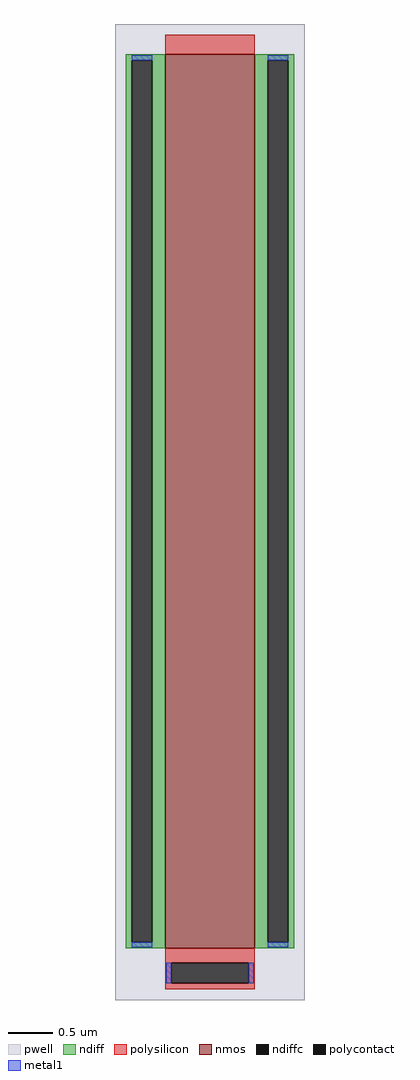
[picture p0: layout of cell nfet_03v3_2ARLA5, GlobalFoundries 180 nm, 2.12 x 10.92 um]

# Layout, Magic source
magic
tech gf180mcuD
magscale 1 10
<< pwell >>
rect -212 -1092 212 1092
<< nmos >>
rect -100 -976 100 1024
<< ndiff >>
rect -188 1011 -100 1024
rect -188 -963 -175 1011
rect -129 -963 -100 1011
rect -188 -976 -100 -963
rect 100 1011 188 1024
rect 100 -963 129 1011
rect 175 -963 188 1011
rect 100 -976 188 -963
<< ndiffc >>
rect -175 -963 -129 1011
rect 129 -963 175 1011
<< polysilicon >>
rect -100 1024 100 1068
rect -100 -1009 100 -976
rect -100 -1055 -87 -1009
rect 87 -1055 100 -1009
rect -100 -1068 100 -1055
<< polycontact >>
rect -87 -1055 87 -1009
<< metal1 >>
rect -175 1011 -129 1022
rect -175 -974 -129 -963
rect 129 1011 175 1022
rect 129 -974 175 -963
rect -98 -1055 -87 -1009
rect 87 -1055 98 -1009
<< properties >>
string gencell nfet_03v3
string library gf180mcu
string parameters w 10 l 1 m 1 nf 1 diffcov 100 polycov 100 guard 0 glc 0 grc 0 gtc 0 gbc 0 tbcov 100 rlcov 100 topc 0 botc 1 poverlap 0 doverlap 1 lmin 0.28 wmin 0.22 class mosfet full_metal 0 compatible {nfet_03v3 nfet_05v0 nfet_06v0 nfet_06v0_nvt}
<< end >>
